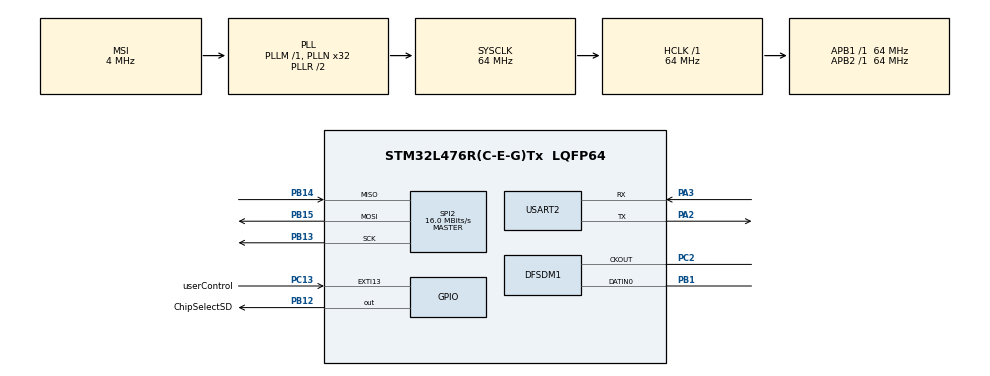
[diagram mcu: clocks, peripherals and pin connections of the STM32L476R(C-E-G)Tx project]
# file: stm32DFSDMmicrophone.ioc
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DFSDM1.DmaMode_reg_FIL1=ENABLE
DFSDM1.FastMode_reg_FIL1=ENABLE
DFSDM1.Filter_regChannel_FIL1=DFSDM_CHANNEL_0
DFSDM1.Fosr_FIL1=125
DFSDM1.RightBitShift_CH0=0x02
DFSDM1.SincOrder_FIL1=DFSDM_FILTER_SINC3_ORDER
Dma.DFSDM1_FLT1.0.Direction=DMA_PERIPH_TO_MEMORY
Dma.DFSDM1_FLT1.0.Instance=DMA1_Channel5
Dma.DFSDM1_FLT1.0.MemDataAlignment=DMA_MDATAALIGN_WORD
Dma.DFSDM1_FLT1.0.MemInc=DMA_MINC_ENABLE
Dma.DFSDM1_FLT1.0.Mode=DMA_CIRCULAR
Dma.DFSDM1_FLT1.0.PeriphDataAlignment=DMA_PDATAALIGN_WORD
Dma.DFSDM1_FLT1.0.PeriphInc=DMA_PINC_DISABLE
Dma.DFSDM1_FLT1.0.Priority=DMA_PRIORITY_HIGH
Dma.Request0=DFSDM1_FLT1
FATFS._MAX_SS=4096
FATFS._USE_LFN=1
Mcu.Family=STM32L4
Mcu.Name=STM32L476R(C-E-G)Tx
Mcu.Package=LQFP64
NVIC.DMA1_Channel5_IRQn=true\:0\:0\:false\:false\:true\:false\:true\:true
NVIC.EXTI15_10_IRQn=true\:0\:0\:true\:false\:true\:true\:true\:true
NVIC.PriorityGroup=NVIC_PRIORITYGROUP_4
PA13\ (JTMS-SWDIO).Mode=Serial_Wire
PA13\ (JTMS-SWDIO).Signal=SYS_JTMS-SWDIO
PA14\ (JTCK-SWCLK).Mode=Serial_Wire
PA14\ (JTCK-SWCLK).Signal=SYS_JTCK-SWCLK
PA2.Mode=Asynchronous
PA2.Signal=USART2_TX
PA3.Mode=Asynchronous
PA3.Signal=USART2_RX
PB1.Signal=S_DATAIN0DFSDM1
PB12.GPIO_Label=ChipSelectSD
PB12.Signal=GPIO_Output
PB13.Mode=Full_Duplex_Master
PB13.Signal=SPI2_SCK
PB14.Mode=Full_Duplex_Master
PB14.Signal=SPI2_MISO
PB15.Mode=Full_Duplex_Master
PB15.Signal=SPI2_MOSI
PC13.GPIO_Label=userControl
PC13.Signal=GPXTI13
PC2.Signal=S_CKOUTDFSDM1
ProjectManager.HeapSize=0x200
ProjectManager.StackSize=0x400
ProjectManager.TargetToolchain=STM32CubeIDE
RCC.ADCFreq_Value=16000000
RCC.AHBFreq_Value=64000000
RCC.APB1Freq_Value=64000000
RCC.APB1TimFreq_Value=64000000
RCC.APB2Freq_Value=64000000
RCC.APB2TimFreq_Value=64000000
RCC.CortexFreq_Value=64000000
RCC.HCLKFreq_Value=64000000
RCC.HSE_VALUE=8000000
RCC.HSI_VALUE=16000000
RCC.LSE_VALUE=32768
RCC.MSI_VALUE=4000000
RCC.PLLN=32
RCC.SYSCLKFreq_VALUE=64000000
RCC.SYSCLKSource=RCC_SYSCLKSOURCE_PLLCLK
RCC.USBFreq_Value=16000000
RCC.VCOOutputFreq_Value=128000000
SH.S_CKOUTDFSDM1.0=DFSDM1_CKOUT,PDM_SPI_input_from_ch0_and_internal_clock
SH.S_DATAIN0DFSDM1.0=DFSDM1_DATIN0,PDM_SPI_input_from_ch0_and_internal_clock
SPI2.BaudRatePrescaler=SPI_BAUDRATEPRESCALER_4
SPI2.CalculateBaudRate=16.0 MBits/s
SPI2.DataSize=SPI_DATASIZE_8BIT
SPI2.Direction=SPI_DIRECTION_2LINES
SPI2.Mode=SPI_MODE_MASTER
SPI2.VirtualType=VM_MASTER
USART2.VirtualMode-Asynchronous=VM_ASYNC
VP_FATFS_VS_Generic.Mode=User_defined
board=custom

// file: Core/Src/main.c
/* USER CODE BEGIN Header */
/**
  ******************************************************************************
  * @file           : main.c
  * @brief          : Main program body
  ******************************************************************************
  * @attention
  *
  * Copyright (c) 2024 STMicroelectronics.
  * All rights reserved.
  *
  * This software is licensed under terms that can be found in the LICENSE file
  * in the root directory of this software component.
  * If no LICENSE file comes with this software, it is provided AS-IS.
  *
  ******************************************************************************
  */
/* USER CODE END Header */
#include "main.h"
#include "fatfs.h"

/* USER CODE BEGIN Includes */
#include <stdio.h>
#include <string.h>
#include <stdbool.h>
/* USER CODE END Includes */

/* USER CODE BEGIN PD */
#define RECORDING_SIZE_MIC 1000
#define DFSDM_BUFFER_SIZE 1000
#define AUDIO_BUFFER_SIZE 1000
#define HEADER_SIZE 44

#define MAX_RECORDING_LENGTH 128044

#define SaturaLH(N, L, H) (((N)<(L))?(L):(((N)>(H))?(H):(N)))
/* USER CODE END PD */

DFSDM_Filter_HandleTypeDef hdfsdm1_filter1;
DFSDM_Channel_HandleTypeDef hdfsdm1_channel0;
DMA_HandleTypeDef hdma_dfsdm1_flt1;

SPI_HandleTypeDef hspi2;

UART_HandleTypeDef huart2;

/* USER CODE BEGIN PV */
// General Program
int error = 0;

// Microphone
char *recordingPath = "sample.wav";
int recording_audio = 0;
int finished_recording = 0;
int16_t recording[RECORDING_SIZE_MIC];
int32_t dfsdm_buffer[DFSDM_BUFFER_SIZE * 2];

int mic_transfer_complete = 0;
int mic_half_transfer = 0;
int transfer_position = 0;
int start_recording_process = 0;
int bytes_written_to_file = 0;

uint8_t header_data[] = { //sample Header for 16KHz mono channel audio file
    0x52, 0x49, 0x46, 0x46, 0x24, 0xE8, 0x03, 0x00,
    0x57, 0x41, 0x56, 0x45, 0x66, 0x6D, 0x74, 0x20,
    0x10, 0x00, 0x00, 0x00, 0x01, 0x00, 0x01, 0x00,
    0x80, 0x3E, 0x00, 0x00, 0x00, 0x7D, 0x00, 0x00,
    0x02, 0x00, 0x10, 0x00, 0x64, 0x61, 0x74, 0x61,
    0x00, 0xE8, 0x03, 0x00
};

//SD Card Variables
FATFS       FatFs;
FRESULT     fres;
FIL 		file;
uint32_t 	totalSpace, freeSpace;
BYTE* 		loaded_song;

UINT bytesWritten;
UINT bytes_to_record = RECORDING_SIZE_MIC * 2;
/* USER CODE END PV */

void SystemClock_Config(void);
static void MX_GPIO_Init(void);
static void MX_DMA_Init(void);
static void MX_DFSDM1_Init(void);
static void MX_SPI2_Init(void);
static void MX_USART2_UART_Init(void);

/* USER CODE BEGIN 0 */
void start_recording_from_mic(){
	if (!recording_audio){
		printf("Starting Recording Process\r\n");
		if (f_open(&file, recordingPath, FA_WRITE | FA_CREATE_ALWAYS) != FR_OK) {
			printf("Error opening file for writing.\n\r");
		}
		if (f_write(&file, header_data, sizeof(header_data), &bytesWritten) != FR_OK) {
			printf("Error writing header to file.\n");
		}
		printf("Recording Started\r\n");
		recording_audio = 1;
		start_recording_process = 0;
	}
}

void mount_SD_card(void){

    //Mount the SD Card
	fres = f_mount(&FatFs, "", 1);    //1=mount now
	if (fres != FR_OK){
		printf("No SD Card found : (%i)\r\n", fres);
        return;
	}
	printf("SD Card Mounted Successfully\r\n");

    //Read the SD Card Total size and Free Size
    FATFS *pfs;
    DWORD fre_clust;

    f_getfree("", &fre_clust, &pfs);
    totalSpace = (uint32_t)((pfs->n_fatent - 2) * pfs->csize * 0.5);
    freeSpace = (uint32_t)(fre_clust * pfs->csize * 0.5);

    printf("TotalSpace : %lu bytes, FreeSpace = %lu bytes\r\n", totalSpace, freeSpace);

}

void close_SD_card_song(void){
	fres = f_close(&file);
	if (fres != FR_OK) {
		return;
	}
}

void unmount_SD_card(void){
	f_mount(NULL, "", 0);
	printf("SD Card Unmounted Successfully\r\n");
}
/* USER CODE END 0 */

int main(void)
{

  /* MCU Configuration--------------------------------------------------------*/

  /* Reset of all peripherals, Initializes the Flash interface and the Systick. */
  HAL_Init();

  /* Configure the system clock */
  SystemClock_Config();

  /* Initialize all configured peripherals */
  MX_GPIO_Init();
  MX_DMA_Init();
  MX_DFSDM1_Init();
  MX_SPI2_Init();
  MX_USART2_UART_Init();
  MX_FATFS_Init();
  /* USER CODE BEGIN 2 */
  printf("Starting Program...\r\n");
  mount_SD_card();

  if (HAL_DFSDM_FilterRegularStart_DMA(&hdfsdm1_filter1, dfsdm_buffer, DFSDM_BUFFER_SIZE * 2) != HAL_OK){
	  printf("Failed to start DFSDM");
  }
  /* USER CODE END 2 */

  /* Infinite loop */
  while (1)
  {

    /* USER CODE BEGIN 3 */
	  if (start_recording_process){
		  start_recording_from_mic();
	  }

	  if (recording_audio){

		  if (finished_recording || bytes_written_to_file >= MAX_RECORDING_LENGTH){
			  printf("Finished Recording Audio\r\n");
			  recording_audio = 0;
			  finished_recording = 0;
			  mic_half_transfer = 0;
			  mic_transfer_complete = 0;
			  bytes_written_to_file = 0;
			  f_close(&file);
			  printf("File Saved\r\n");
		  }

		  if(mic_half_transfer){
			  for (int i = 0; i < DFSDM_BUFFER_SIZE; i++){
				  recording[i] = SaturaLH((dfsdm_buffer[i] >> 8), -32768, 32767);
			  }
			  if (f_write(&file, recording, bytes_to_record, &bytesWritten) != FR_OK) {
				  printf("Error Writing To File 1.\n");
				  f_close(&file);
				  error = 1;
			  }
			  bytes_written_to_file+= DFSDM_BUFFER_SIZE * 2;
			  mic_half_transfer = 0;
		  }
		  else if (mic_transfer_complete){
			  for (int i = DFSDM_BUFFER_SIZE; i < DFSDM_BUFFER_SIZE * 2; i++){
				  recording[i - DFSDM_BUFFER_SIZE] = SaturaLH((dfsdm_buffer[i] >> 8), -32768, 32767);
			  }
			  if (f_write(&file, recording, bytes_to_record, &bytesWritten) != FR_OK) {
				  printf("Error Writing to File 2.\n");
				  f_close(&file);
				  error = 1;
			  }
			  bytes_written_to_file+= DFSDM_BUFFER_SIZE * 2;
			  mic_transfer_complete = 0;
		  }
	  }

	  if (error){
		  printf("There has been an error\r\n Terminating Program\r\n");
		  unmount_SD_card();
		  return -1;
	  }
  }
  unmount_SD_card();
  /* USER CODE END 3 */
}

void SystemClock_Config(void)
{
  RCC_OscInitTypeDef RCC_OscInitStruct = {0};
  RCC_ClkInitTypeDef RCC_ClkInitStruct = {0};

  /** Configure the main internal regulator output voltage
  */
  if (HAL_PWREx_ControlVoltageScaling(PWR_REGULATOR_VOLTAGE_SCALE1) != HAL_OK)
  {
    Error_Handler();
  }

  /** Initializes the RCC Oscillators according to the specified parameters
  * in the RCC_OscInitTypeDef structure.
  */
  RCC_OscInitStruct.OscillatorType = RCC_OSCILLATORTYPE_MSI;
  RCC_OscInitStruct.MSIState = RCC_MSI_ON;
  RCC_OscInitStruct.MSICalibrationValue = 0;
  RCC_OscInitStruct.MSIClockRange = RCC_MSIRANGE_6;
  RCC_OscInitStruct.PLL.PLLState = RCC_PLL_ON;
  RCC_OscInitStruct.PLL.PLLSource = RCC_PLLSOURCE_MSI;
  RCC_OscInitStruct.PLL.PLLM = 1;
  RCC_OscInitStruct.PLL.PLLN = 32;
  RCC_OscInitStruct.PLL.PLLP = RCC_PLLP_DIV7;
  RCC_OscInitStruct.PLL.PLLQ = RCC_PLLQ_DIV2;
  RCC_OscInitStruct.PLL.PLLR = RCC_PLLR_DIV2;
  if (HAL_RCC_OscConfig(&RCC_OscInitStruct) != HAL_OK)
  {
    Error_Handler();
  }

  /** Initializes the CPU, AHB and APB buses clocks
  */
  RCC_ClkInitStruct.ClockType = RCC_CLOCKTYPE_HCLK|RCC_CLOCKTYPE_SYSCLK
                              |RCC_CLOCKTYPE_PCLK1|RCC_CLOCKTYPE_PCLK2;
  RCC_ClkInitStruct.SYSCLKSource = RCC_SYSCLKSOURCE_PLLCLK;
  RCC_ClkInitStruct.AHBCLKDivider = RCC_SYSCLK_DIV1;
  RCC_ClkInitStruct.APB1CLKDivider = RCC_HCLK_DIV1;
  RCC_ClkInitStruct.APB2CLKDivider = RCC_HCLK_DIV1;

  if (HAL_RCC_ClockConfig(&RCC_ClkInitStruct, FLASH_LATENCY_3) != HAL_OK)
  {
    Error_Handler();
  }
}

static void MX_DFSDM1_Init(void)
{

  hdfsdm1_filter1.Instance = DFSDM1_Filter1;
  hdfsdm1_filter1.Init.RegularParam.Trigger = DFSDM_FILTER_SW_TRIGGER;
  hdfsdm1_filter1.Init.RegularParam.FastMode = ENABLE;
  hdfsdm1_filter1.Init.RegularParam.DmaMode = ENABLE;
  hdfsdm1_filter1.Init.FilterParam.SincOrder = DFSDM_FILTER_SINC3_ORDER;
  hdfsdm1_filter1.Init.FilterParam.Oversampling = 125;
  hdfsdm1_filter1.Init.FilterParam.IntOversampling = 1;
  if (HAL_DFSDM_FilterInit(&hdfsdm1_filter1) != HAL_OK)
  {
    Error_Handler();
  }
  hdfsdm1_channel0.Instance = DFSDM1_Channel0;
  hdfsdm1_channel0.Init.OutputClock.Activation = ENABLE;
  hdfsdm1_channel0.Init.OutputClock.Selection = DFSDM_CHANNEL_OUTPUT_CLOCK_SYSTEM;
  hdfsdm1_channel0.Init.OutputClock.Divider = 2;
  hdfsdm1_channel0.Init.Input.Multiplexer = DFSDM_CHANNEL_EXTERNAL_INPUTS;
  hdfsdm1_channel0.Init.Input.DataPacking = DFSDM_CHANNEL_STANDARD_MODE;
  hdfsdm1_channel0.Init.Input.Pins = DFSDM_CHANNEL_SAME_CHANNEL_PINS;
  hdfsdm1_channel0.Init.SerialInterface.Type = DFSDM_CHANNEL_SPI_RISING;
  hdfsdm1_channel0.Init.SerialInterface.SpiClock = DFSDM_CHANNEL_SPI_CLOCK_INTERNAL;
  hdfsdm1_channel0.Init.Awd.FilterOrder = DFSDM_CHANNEL_FASTSINC_ORDER;
  hdfsdm1_channel0.Init.Awd.Oversampling = 1;
  hdfsdm1_channel0.Init.Offset = 0;
  hdfsdm1_channel0.Init.RightBitShift = 0x02;
  if (HAL_DFSDM_ChannelInit(&hdfsdm1_channel0) != HAL_OK)
  {
    Error_Handler();
  }
  if (HAL_DFSDM_FilterConfigRegChannel(&hdfsdm1_filter1, DFSDM_CHANNEL_0, DFSDM_CONTINUOUS_CONV_ON) != HAL_OK)
  {
    Error_Handler();
  }

}

static void MX_SPI2_Init(void)
{

  /* SPI2 parameter configuration*/
  hspi2.Instance = SPI2;
  hspi2.Init.Mode = SPI_MODE_MASTER;
  hspi2.Init.Direction = SPI_DIRECTION_2LINES;
  hspi2.Init.DataSize = SPI_DATASIZE_8BIT;
  hspi2.Init.CLKPolarity = SPI_POLARITY_LOW;
  hspi2.Init.CLKPhase = SPI_PHASE_1EDGE;
  hspi2.Init.NSS = SPI_NSS_SOFT;
  hspi2.Init.BaudRatePrescaler = SPI_BAUDRATEPRESCALER_4;
  hspi2.Init.FirstBit = SPI_FIRSTBIT_MSB;
  hspi2.Init.TIMode = SPI_TIMODE_DISABLE;
  hspi2.Init.CRCCalculation = SPI_CRCCALCULATION_DISABLE;
  hspi2.Init.CRCPolynomial = 7;
  hspi2.Init.CRCLength = SPI_CRC_LENGTH_DATASIZE;
  hspi2.Init.NSSPMode = SPI_NSS_PULSE_ENABLE;
  if (HAL_SPI_Init(&hspi2) != HAL_OK)
  {
    Error_Handler();
  }

}

static void MX_USART2_UART_Init(void)
{

  huart2.Instance = USART2;
  huart2.Init.BaudRate = 115200;
  huart2.Init.WordLength = UART_WORDLENGTH_8B;
  huart2.Init.StopBits = UART_STOPBITS_1;
  huart2.Init.Parity = UART_PARITY_NONE;
  huart2.Init.Mode = UART_MODE_TX_RX;
  huart2.Init.HwFlowCtl = UART_HWCONTROL_NONE;
  huart2.Init.OverSampling = UART_OVERSAMPLING_16;
  huart2.Init.OneBitSampling = UART_ONE_BIT_SAMPLE_DISABLE;
  huart2.AdvancedInit.AdvFeatureInit = UART_ADVFEATURE_NO_INIT;
  if (HAL_UART_Init(&huart2) != HAL_OK)
  {
    Error_Handler();
  }

}

static void MX_DMA_Init(void)
{

  /* DMA controller clock enable */
  __HAL_RCC_DMA1_CLK_ENABLE();

  /* DMA interrupt init */
  /* DMA1_Channel5_IRQn interrupt configuration */
  HAL_NVIC_SetPriority(DMA1_Channel5_IRQn, 0, 0);
  HAL_NVIC_EnableIRQ(DMA1_Channel5_IRQn);

}

static void MX_GPIO_Init(void)
{
  GPIO_InitTypeDef GPIO_InitStruct = {0};

  /* GPIO Ports Clock Enable */
  __HAL_RCC_GPIOC_CLK_ENABLE();
  __HAL_RCC_GPIOA_CLK_ENABLE();
  __HAL_RCC_GPIOB_CLK_ENABLE();

  /*Configure GPIO pin Output Level */
  HAL_GPIO_WritePin(ChipSelectSD_GPIO_Port, ChipSelectSD_Pin, GPIO_PIN_RESET);

  /*Configure GPIO pin : userControl_Pin */
  GPIO_InitStruct.Pin = userControl_Pin;
  GPIO_InitStruct.Mode = GPIO_MODE_IT_RISING;
  GPIO_InitStruct.Pull = GPIO_NOPULL;
  HAL_GPIO_Init(userControl_GPIO_Port, &GPIO_InitStruct);

  /*Configure GPIO pin : ChipSelectSD_Pin */
  GPIO_InitStruct.Pin = ChipSelectSD_Pin;
  GPIO_InitStruct.Mode = GPIO_MODE_OUTPUT_PP;
  GPIO_InitStruct.Pull = GPIO_NOPULL;
  GPIO_InitStruct.Speed = GPIO_SPEED_FREQ_LOW;
  HAL_GPIO_Init(ChipSelectSD_GPIO_Port, &GPIO_InitStruct);

  /* EXTI interrupt init*/
  HAL_NVIC_SetPriority(EXTI15_10_IRQn, 0, 0);
  HAL_NVIC_EnableIRQ(EXTI15_10_IRQn);

}

/* USER CODE BEGIN 4 */

#ifdef __GNUC__
  /* With GCC, small printf (option LD Linker->Libraries->Small printf
     set to 'Yes') calls __io_putchar() */
int __io_putchar(int ch)
#else
int fputc(int ch, FILE *f)
#endif /* __GNUC__ */
{
  /* Place your implementation of fputc here */
  /* e.g. write a character to the UART2 and Loop until the end of transmission */
  HAL_UART_Transmit(&huart2, (uint8_t *)&ch, 1, HAL_MAX_DELAY);
  return ch;
}

void HAL_GPIO_EXTI_Callback(uint16_t GPIO_Pin){
	start_recording_process = 1;
}

void HAL_DFSDM_FilterRegConvHalfCpltCallback(DFSDM_Filter_HandleTypeDef *hdfsdm_filter)
{
	if (recording_audio){
		mic_half_transfer = 1;
	}

}
void HAL_DFSDM_FilterRegConvCpltCallback(DFSDM_Filter_HandleTypeDef *hdfsdm_filter)
{
	if( recording_audio){
		mic_transfer_complete = 1;
	}
}
/* USER CODE END 4 */

void Error_Handler(void)
{
  __disable_irq();
  while (1)
  {
  }
}
